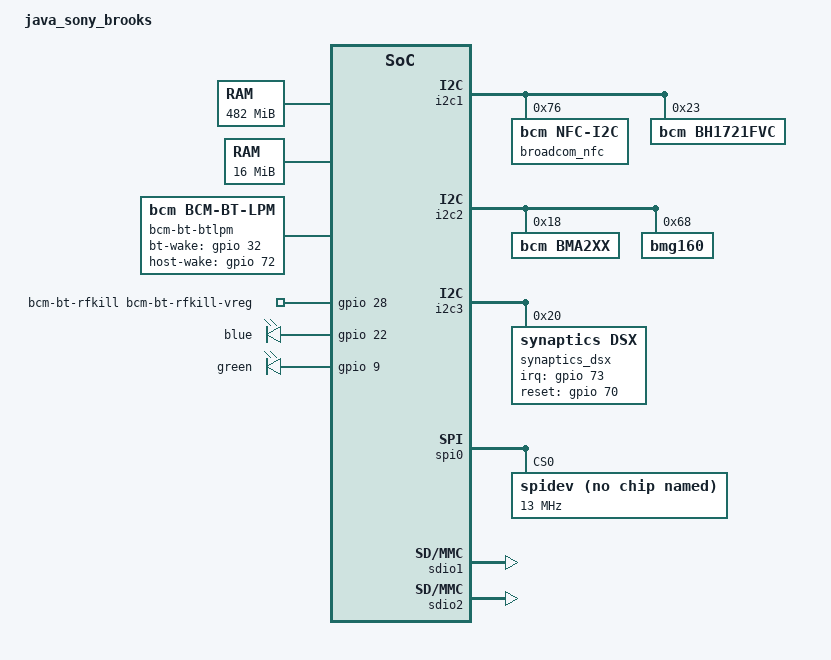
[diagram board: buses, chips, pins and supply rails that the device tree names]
/* java_sony_brooks dts file */

/dts-v1/;

/include/ "java.dtsi"
/include/ "java_sony_bcmpmu_brooks_020.dtsi"

/ {
	model = "java_sony_brooks";
	compatible = "bcm,java";

	chosen {
		bootargs = "console=ttyS0,115200n8 mem=448M@0x81E00000 mem=16M@0x9F000000 gpt androidboot.console=ttyS0 crash_ramdump=1 logbuf_nocache=1 vmalloc=136M androidboot.hardware=tetra";
	};

	memory@81e00000{
		device_type = "memory";
		reg = <0x81e00000 0x1e200000>; /* 482 MB */
	};

	memory@9F000000{
		device_type = "memory";
		reg = <0x9f000000 0x01000000>; /* 16 MB */
	};

	wd-tapper {
		count = <300>; /* Time in seconds */
		ch-num = <1>; /* Kona hub timer Channel number */
		timer-name = "aon-timer";
	};

	usb-phy@0x3F130000 {
		interrupts = <0 128 0x04>;
		chipreg-virtual-mem-base = <0x35004000>;
		usb-ahb-clk-name = "usb_otg_clk";
		mdio-mstr-clk-name = "mdiomaster";
	};
	usb-hsotgctrl@0x3F130000 {
		chipreg-virtual-mem-base = <0x35004000>;
		usb-ahb-clk-name = "usb_otg_clk";
		mdio-mstr-clk-name = "mdiomaster";
	};


	uart@3e000000 {
		clock-frequency = <26000000>;
		port-name = "console";
		clk-name = "uartb_clk";
	};

	uart@3e001000 {
		clock-frequency = <48000000>;
		port-name = "bluetooth";
		clk-name = "uartb2_clk";
	};

	uart@3e002000 {
		clock-frequency = <26000000>;
		port-name = "gps";
		clk-name = "uartb3_clk";
		/*If power-save-enable is set Change
		* PADCTRL_UBRTSN from UART3_RTSN to
		* UBRTSN (Debug UART) when GPS is inactive.*/
		power-save-enable = <1>;

	};

	i2c0: i2c@3e016000 {
		speed = <5>; /* BSC_BUS_SPEED_400 K */
		dynamic-speed = <1>;
		bsc-clk = "bsc1_clk";
		bsc-apb-clk = "bsc1_apb_clk";
		retries = <1>;
		is-pmu-i2c = <0>;
		fs-ref-frequency = <13000000>;
		hs-ref-frequency = <104000000>;
	};

	i2c1: i2c@3e017000 {
		speed = <5>; /* BSC_BUS_SPEED_400 K */
		dynamic-speed = <1>;
		bsc-clk = "bsc2_clk";
		bsc-apb-clk = "bsc2_apb_clk";
		retries = <3>;
		is-pmu-i2c = <0>;
		fs-ref-frequency = <13000000>;
		hs-ref-frequency = <104000000>;

		broadcom_nfc@76 {
			compatible = "bcm,nfc-i2c";
			reg = <0x76>;
			wake_gpio = <25>;
			en_gpio = <100>;
			irq_gpio = <43>;
			enable_txfifo = <1>;
			enable_rxfifo = <1>;
		};

		bh1721fvc@23 {
			compatible = "bcm,bh1721fvc";
			reg = <0x23>;
		};
	};

	i2c2: i2c@3e018000 {
		speed = <5>; /* BSC_BUS_SPEED_400 K */
		dynamic-speed = <1>;
		bsc-clk = "bsc3_clk";
		bsc-apb-clk = "bsc3_apb_clk";
		retries = <1>;
		is-pmu-i2c = <0>;
		fs-ref-frequency = <13000000>;
		hs-ref-frequency = <104000000>;

		bma2xx@18 {
			compatible = "bcm,bma2xx";
			reg = <0x18>;
			gpio-irq-pin = <1>;
			gpio-data-irq-pin = <4>;
			orientation = "ORI_Y_NX_Z"; /* y,-x, z */
			regulator = "gpldo1_uc";
		};

		bmg160@68 {
			compatible = "bmg160";
			reg = <0x68>;
			regulator = "gpldo1_uc";
			range = <0>; /* BMG160_RANGE_2000 */
			orientation = "ORI_Y_NX_Z"; /* y,-x, z */
		};
	};

	i2c3: i2c@3e01c000 {
		speed = <5>; /* BSC_BUS_SPEED_400 K */
		dynamic-speed = <1>;
		bsc-clk = "bsc4_clk";
		bsc-apb-clk = "bsc4_apb_clk";
		retries = <1>;
		is-pmu-i2c = <0>;
		fs-ref-frequency = <13000000>;
		hs-ref-frequency = <104000000>;

		synaptics_dsx@20 {
			compatible = "synaptics,dsx";
			reg = <0x20>;
			interrupt-parent = <&gpio>;
			interrupts = <73 0x2>;
			synaptics,pwr-reg-name = "cam2";
			synaptics,irq-gpio = <&gpio 73 0x00>;
			synaptics,irq-flags = <0x2002>;
			synaptics,reset-gpio = <&gpio 70 0x00>;
			synaptics,reset-on-state = <0>;
			synaptics,reset-active-ms = <20>;
			synaptics,power-delay-ms = <160>;
			synaptics,reset-delay-ms = <100>;
			synaptics,fw-name = "synaptics/PR1638646.img";
			synaptics,wakeup-gest-key = <116>; /* KEY_POWER*/
			synaptics,extra-registers = "f11_ctrl_58 0x62",
				"f11_data_28 0x30";
		};

	};

	i2c4: i2c@3500d000 {
		speed = <7>; /* BSC_BUS_SPEED_HS */
		dynamic-speed = <0>;
		bsc-clk = "pmu_bsc_clk";
		bsc-apb-clk = "pmu_bsc_apb";
		retries = <5>;
		is-pmu-i2c = <1>;
		fs-ref-frequency = <13000000>;
		hs-ref-frequency = <26000000>;
	};

        bcm-bt-btlpm {
                compatible = "bcm,bcm-bt-lpm";
                bt-wake-gpio = <&gpio 32 0>;
                host-wake-gpio = <&gpio 72 0>;
        };

	spi0: spi@0x3E004000 {
		enable-dma = <1>;
		cs-line = <1>;
		mode = <0x23>;

		spidev@0x0 {
			compatible = "bcm,spidev";
			reg = <0x0>;
			spi-max-frequency = <13000000>;
			spi-loop = <0x20>;
		};
	};

        bcm-bt-rfkill {
                compatible = "bcm,bcm-bt-rfkill";
                bcm-bt-rfkill-vreg-gpio = <&gpio 28 0>;
        };

	iommu_mm: iommu-mm {
		compatible = "bcm,iommu-m4u";
		iova_begin  = <0x80000000>;
		iova_size   = <0x80000000>;
		errbuf_size = <0x00001000>;
		skip_enable = <1>;
	};

	iovmm_mm: iovmm-mm {
		compatible = "bcm,iovmm";
		base = <0x80000000>;
		size = <0x30000000>;
		order = <0>;
	};

	iovmm_mm_hwwr: iovmm-mm-hwwr {
		compatible = "bcm,iovmm";
		base = <0xb0000000>;
		size = <0x40000000>;
		order = <0>;
	};

	iovmm_mm_256mb: iovmm-mm-256mb {
		compatible = "bcm,iovmm";
		base = <0xf0000000>;
		size = <0x0ff00000>;
		order = <0>;
	};

	ion-config {
		compatible = "bcm,ion-config";
		/* Workaround: Use a separate iova pool for hwwr buffers */
		mask_hwwr = <0x4>;
		mask_256M = <0x221>;
	};

	ion-system {
		compatible = "bcm,ion";
		id = <0>;
		type = <0>;
		iommu = <&iommu_mm>;
		iovmm = <&iovmm_mm_256mb>;
	};

	ion-system-extra {
		compatible = "bcm,ion";
		id = <1>;
		type = <0>;
		iommu = <&iommu_mm>;
		iovmm = <&iovmm_mm>;
	};

	ion-system-hwwr {
		compatible = "bcm,ion";
		id = <2>;
		type = <0>;
		iommu = <&iommu_mm>;
		iovmm = <&iovmm_mm_hwwr>;
	};

	ion-carveout {
		compatible = "bcm,ion";
		id = <9>;
		type = <2>;
		base  = <0x90000000>;
		limit = <0xa0000000>;
		size  = <0x01000000>;
		lmk_enable = <0>;
		lmk_min_score_adj = <411>;
		lmk_min_free = <32>;
		iommu = <&iommu_mm>;
		iovmm = <&iovmm_mm_256mb>;
	};

	ion-cma {
		compatible = "bcm,ion";
		id = <5>;
		type = <4>;
		base  = <0x90000000>;
		limit = <0xa0000000>;
		size  = <0x00000000>;
		lmk_enable = <1>;
		lmk_min_score_adj = <411>;
		lmk_min_free = <32>;
		iommu = <&iommu_mm>;
		iovmm = <&iovmm_mm_256mb>;
	};

	soc-back-camera {
		compatible = "bcm,soc-camera";
		reg = <0x36 0x0>;
		bus-id = <0>;
		i2c-type = "ov5648";
		i2c-addr = <0x36>;
		i2c-adapter-id = <0>;
		module-name = "ov5648";
		if-type = <1>;
		if-mode = <3>;
		orientation = <1>;
		facing = <1>;
		lanes = <2>;
		channel = <0>;
		phy-rate = <0>;
		pix-clk = <0>;
		regulators = "lvldo1_uc", "mmc1_vcc", "mmc2_vcc", "lvldo2_uc";
	};

	kona-fb {
		module-name = "NT35310_Brooks";
		reg-name = "cam2";
		rst-gpio = <&gpio 2 0>;
		rst-setup = <2000>;
		rst-pulse = <11000>;
		rst-hold = <11000>;
		/* rst-active-high; */	/* Commented => Active Low */
		col-mod-i = <3>;
		col-mod-o = <3>;
		width = <320>;
		height = <320>;
		/* vmode; */
		/* vburst; */	/* Non-burst mode */
		/* te-ctrl; */		/* Tearing Effect Control enabled */
		fps = <60>;
		lanes = <1>;
		/*cmnd-LP;		 Commands in LP mode*/
		hs-bitrate = <333000000>;	/* bps */
		lp-bitrate =   <8000000>;	/* bps */
		desense-offset = <2400000>;  /* +2.4Mbps */
		iommu = <&iommu_mm>;
		iovmm = <&iovmm_mm>;
		rotation = <0>;
	};


	tmon@0x34008000 {
		compatible = "bcm,tmon";
		reg = <0x34008000 0x1000>;
		interrupts = <0 183 4>;
		chipreg_addr = <0x35004000 0x1000>;
		thold_size = <8>; /*number of threshold levels*/
		poll_rate_ms = <30000>;
		hysteresis = <0>;
		flags = <5>;
		interval_ms = <8>;
		/*sw shdwn temp is 120*/
		thold = <55 1
			58 1
			63 1
			65 1
			70 1
			80 1
			115 4
			120 2>;
		tmon_apb_clk = "tmon_apb";
		tmon_1m_clk = "tmon_1m_clk";
		falling = <5>; /*fall back temperature offset*/
	};

    tmon-thermal@0x34008000 {
        compatible = "bcm,tmon-thermal";
        reg  = <0x34008000 0x1000>, <0x35004000 0x1000>;
        interrupts = <0 183 4>;
        hysteresis = <5>;
        flags = <5>;
        interval_ms = <5>;
        poll_rate_ms = <30000>;
        tmon_apb_clk = "tmon_apb";
        tmon_1m_clk = "tmon_1m_clk";
        shutdown_temp = <120>;

		trip0 {
			type = "active";
			temp = <0>;
			max_freq = <1200000>;
			max_brightness = <32>;
		};
		trip1 {
			type = "active";
			temp = <55>;
			max_freq = <0>;
			max_brightness = <28>;
		};
		trip2 {
			type = "active";
			temp = <58>;
			max_freq = <1200000>;
			max_brightness = <0>;
		};
		trip3 {
			type = "active";
			temp = <63>;
			max_freq = <0>;
			max_brightness = <25>;
		};
		trip4 {
			type = "active";
			temp = <65>;
			max_freq = <800000>;
			max_brightness = <0>;
		};
		trip5 {
			type = "active";
			temp = <70>;
			max_freq = <600000>;
			max_brightness = <22>;
		};
		trip6 {
			type = "active";
			temp = <80>;
			max_freq = <312000>;
			max_brightness = <0>;
		};
		trip7 {
			type = "critical";
			temp = <115>;
			max_freq = <0>;
			max_brightness = <0>;
		};
    };

	memc@35008000 {
		compatible = "bcm,memc";
		reg = <0x35008000 0x1000>;
		interrupts = <0 61 4>;
		flags = <0xF3>;
		chipreg_base = <0x35004000 0x1000>;
		memc0_aphy_base = <0x35008400 0x1000>;
		seq_busy_val = <2>;
		max_pwr = <3>;
		temp_period = <0xA09E6C>; /*400ms*/
		temp_tholds = <7 1>;
		num_thold = <1>;
		pll_freq = <0 0 0 0
				0x3D 0 1 0
				0x50 0 1 0>;
	};

	sdio1 {
		compatible = "bcm,sdhci";
		reg = <0x3F190000 10000>;
		interrupts = <0 76 0x04>;
		id = <1>;
		data-pullup = <0>;
		is-8bit = <1>;
		devtype = <2>;		/*SDIO_DEV_TYPE_EMMC*/
		flags = <3>;		/*NON_REMOVABLE | RPM_EN*/
		pm_caps = <1>;		/*MMC_PM_KEEP_POWER*/
		peri-clk-name = "sdio2_clk";
		ahb-clk-name = "sdio2_ahb_clk";
		sleep-clk-name = "sdio2_sleep_clk";
		peri-clk-rate = <52000000>;
		vddsdmmc-regulator-name = "cam1";
	};

	sdio2 {
		compatible = "bcm,sdhci";
		reg = <0x3F1A0000 10000>;
		interrupts = <0 74 0x04>;
		id = <2>;
		data-pullup = <0>;
		devtype = <1>;		/*SDIO_DEV_TYPE_WIFI*/
		flags = <2>;		/*REMOVABLE | RPM_EN*/
		peri-clk-name = "sdio3_clk";
		ahb-clk-name = "sdio3_ahb_clk";
		sleep-clk-name = "sdio3_sleep_clk";
		peri-clk-rate = <48000000>;
	};

	timer {
		compatible = "arm,armv7-timer";
		interrupts = <1 13 0xf08>,
					<1 14 0xf08>;
	};

	wifi-driver {
		compatible = "bcm,bcm_wifi";
		wl-reset-gpio = <3>;
		host-wake-gpio = <74>;
		board-nvram-file = "/system/vendor/firmware/fw_wifi_nvram_43341.txt";
		module-name = "bcmdhd_4330";
	};

	keypad {
		row-num = <2>;
		col-num = <3>;
		row-col-count = <8>;
		key-name = "Vol Down Key", "Vol Up Key", "unused", "unused",
			"unused", "unused", "unused", "unused", "Camera Focus Key",
			"Camera Key", "unused", "unused", "unused", "unused",
			"unused", "unused", "unused", "unused", "unused",
			"unused", "unused", "unused", "unused", "unused",
			"unused", "unused", "unused", "unused", "unused",
			"unused", "unused", "unused", "unused", "unused",
			"unused", "unused", "unused", "unused", "unused",
			"unused", "unused", "unused", "unused", "unused",
			"unused", "unused", "unused", "unused", "unused",
			"unused", "unused", "unused", "unused", "unused",
			"unused", "unused", "unused", "unused", "unused",
			"unused", "unused", "unused", "unused", "unused";
		key-code = <114 115 0 0 0 0 0 0
			528 212 0 0 0 0 0 0
			0 0 0 0 0 0 0 0
			0 0 0 0 0 0 0 0
			0 0 0 0 0 0 0 0
			0 0 0 0 0 0 0 0
			0 0 0 0 0 0 0 0
			0 0 0 0 0 0 0 0>;
	};

	pwm-backlight {
		compatible = "bcm,pwm-backlight";
		reg = <0x0 0x0>;
		pwm-id = <2>;
		polarity = <1>;		/* Inverted polarity */
		pwm-period-ns = <99900>; /* ~10010 Hz */
		pwm-request-label = "backlight";
		bl-on-delay = <7000>;
		pwm_pin_name = <39>;	/*GPIO24, enum PIN_NAME defined in chip_pinmux.h*/
		pwm_pin_reboot_func = <25>;	/*GPIO24, enum PIN_FUNC defined in chip_pinmux.h*/
		brightness-levels = <0 1 2 3 4 5 6 7 8 9 10 11 12 13 14 15 16 17
							18 19 20 21 22 23 24 25 26 27 28 29 30 31 32>; /* Android calibrates to 32 levels */
		default-brightness-level = <32>; /* Array index */
	};

	gpio-leds {
		compatible = "gpio-leds";

		blue {
			label = "blue";
			gpios = <&gpio 22 0>;
		};

		green {
			label = "green";
			gpios = <&gpio 9 0>;
		};
	};

	secure_mem {
		sec-mem-base = <0x9d800000>;
		sec-mem-size = <0x100000>;
	};

	secure_watchdog {
		compatible = "bcm,secure_watchdog";
	};
};
